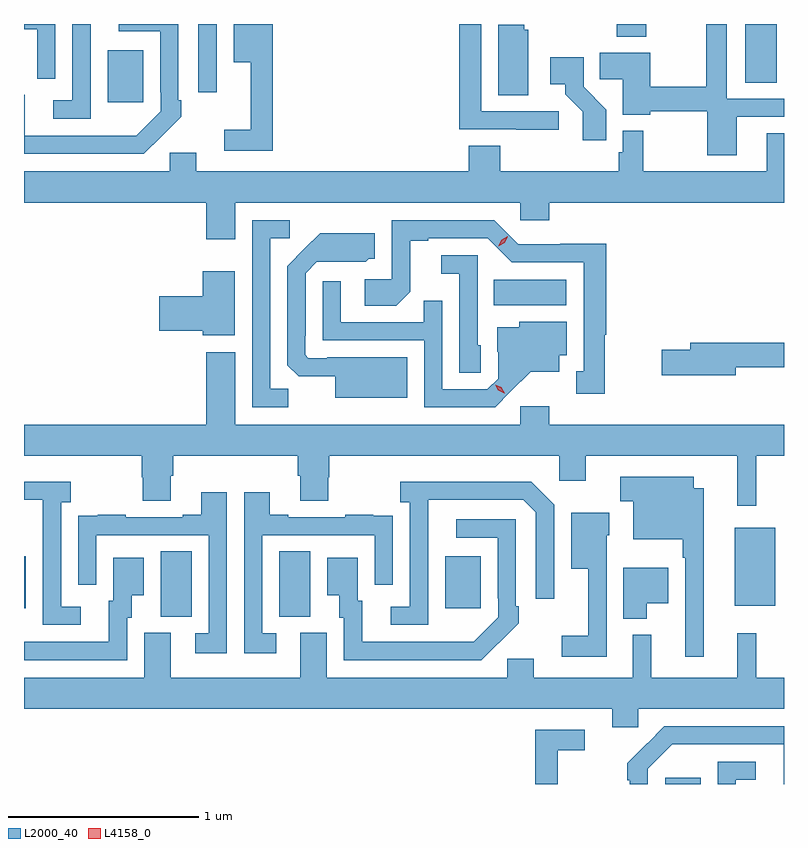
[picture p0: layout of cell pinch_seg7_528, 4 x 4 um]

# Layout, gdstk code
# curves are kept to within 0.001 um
import gdstk
lib = gdstk.Library(unit=1e-6, precision=1e-09)
def R(c, l, rs):  # rectangles x0, y0, x1, y1
    for r in rs: c.add(gdstk.rectangle(r[:2], r[2:], *l))
def P(c, l, *ps):  # polygons
    for p in ps: c.add(gdstk.Polygon(p, *l))
L2000_40 = (2000, 40)
L4158_0 = (4158, 0)

pinch_seg7_528 = lib.new_cell('pinch_seg7_528')
R(pinch_seg7_528, L2000_40, [(151.367,1069.484,151.555,1069.516), (148.712,1070.365,148.876,1070.708), (149.336,1070.365,149.5,1070.708), (147.993,1070.409,148.003,1070.683), (150.209,1070.409,150.397,1070.683), (151.733,1070.423,151.948,1070.833), (150.466,1072.004,150.847,1072.138), (148.433,1073.073,148.621,1073.347), (148.911,1073.124,149.007,1073.484), (151.79,1073.176,151.954,1073.484), (151.114,1073.417,151.269,1073.484)])
P(pinch_seg7_528, L2000_40, [(148.344,1073.443),(148.345,1073.443),(148.345,1073.484),(148.248,1073.484),(148.248,1073.082),(148.146,1073.082),(148.146,1072.986),(148.344,1072.986)],
  [(151.744,1072.995),(151.993,1072.995),(151.993,1073.091),(151.692,1073.091),(151.692,1073.484),(151.584,1073.484),(151.584,1073.153),(151.29,1073.153),(151.29,1073.332),(151.024,1073.332),(151.024,1073.194),(151.145,1073.194),(151.145,1073.006),(151.29,1073.006),(151.29,1073.025),(151.588,1073.025),(151.588,1072.794),(151.744,1072.794)],
  [(150.808,1073.025),(150.399,1073.025),(150.399,1073.484),(150.283,1073.484),(150.283,1072.929),(150.583,1072.929),(150.583,1072.927),(150.808,1072.927)],
  [(148.158,1073.45),(148.157,1073.45),(148.157,1073.484),(147.993,1073.484),(147.993,1073.457),(148.062,1073.457),(148.062,1073.196),(148.158,1073.196)],
  [(149.303,1073.484),(149.096,1073.484),(149.096,1073.282),(149.186,1073.282),(149.186,1072.927),(149.046,1072.927),(149.046,1072.818),(149.303,1072.818)],
  [(148.715,1072.891),(148.716,1072.89),(148.821,1072.995),(148.821,1073.083),(148.806,1073.083),(148.806,1073.484),(148.491,1073.484),(148.491,1073.445),(148.71,1073.445),(148.71,1073.125),(148.713,1073.125),(148.713,1073.025),(148.585,1072.897),(147.997,1072.896),(147.997,1073.112),(147.993,1073.112),(147.993,1072.8),(148.624,1072.8)],
  [(150.646,1073.454),(150.627,1073.454),(150.627,1073.481),(150.488,1073.481),(150.488,1073.11),(150.646,1073.11)],
  [(151.058,1073.034),(150.939,1073.153),(150.939,1073.308),(150.762,1073.308),(150.762,1073.168),(150.842,1073.168),(150.842,1073.113),(150.933,1073.023),(150.933,1072.872),(151.058,1072.872)],
  [(149.104,1072.544),(150.606,1072.544),(150.606,1072.451),(150.758,1072.451),(150.758,1072.544),(151.993,1072.544),(151.993,1072.91),(151.901,1072.91),(151.901,1072.708),(151.252,1072.708),(151.252,1072.921),(151.143,1072.921),(151.143,1072.809),(151.123,1072.809),(151.123,1072.708),(150.5,1072.708),(150.5,1072.844),(150.335,1072.844),(150.335,1072.708),(148.9,1072.708),(148.9,1072.806),(148.761,1072.806),(148.761,1072.708),(147.993,1072.708),(147.993,1072.544),(148.952,1072.544),(148.952,1072.35),(149.104,1072.35)],
  [(151.049,1071.849),(151.057,1071.849),(151.057,1072.328),(150.816,1072.328),(150.816,1072.326),(150.594,1072.326),(150.468,1072.452),(149.928,1072.452),(149.928,1072.14),(149.787,1072.14),(149.787,1072),(149.951,1072),(150.027,1072.076),(150.027,1072.344),(150.121,1072.344),(150.121,1072.356),(150.435,1072.356),(150.561,1072.23),(150.938,1072.23),(150.938,1071.657),(150.899,1071.657),(150.899,1071.537),(151.049,1071.537)],
  [(149.385,1071.563),(149.289,1071.563),(149.289,1072.356),(149.392,1072.356),(149.392,1072.452),(149.193,1072.452),(149.193,1071.468),(149.385,1071.468)],
  [(150.01,1071.73),(149.59,1071.73),(149.59,1071.726),(149.49,1071.726),(149.472,1071.744),(149.472,1071.844),(149.475,1071.844),(149.475,1072.173),(149.535,1072.233),(149.792,1072.232),(149.808,1072.248),(149.839,1072.248),(149.839,1072.384),(149.551,1072.384),(149.379,1072.21),(149.379,1071.688),(149.438,1071.629),(149.63,1071.629),(149.63,1071.518),(150.01,1071.518)],
  [(150.396,1071.792),(150.381,1071.792),(150.381,1072.266),(150.189,1072.266),(150.189,1072.169),(150.285,1072.169),(150.285,1071.649),(150.396,1071.649)],
  [(149.101,1072.183),(148.934,1072.183),(148.934,1072.052),(148.704,1072.052),(148.704,1071.869),(148.934,1071.869),(148.934,1071.845),(149.101,1071.845)],
  [(150.556,1071.551),(150.659,1071.653),(150.811,1071.653),(150.811,1071.74),(150.85,1071.74),(150.85,1071.916),(150.6,1071.916),(150.6,1071.889),(150.485,1071.889),(150.485,1071.76),(150.489,1071.76),(150.489,1071.618),(150.432,1071.561),(150.195,1071.561),(150.195,1072.028),(150.097,1072.028),(150.097,1071.915),(149.661,1071.915),(149.661,1072.129),(149.565,1072.129),(149.565,1071.819),(150.099,1071.819),(150.099,1071.468),(150.472,1071.468)],
  [(151.738,1071.678),(151.993,1071.678),(151.993,1071.806),(151.499,1071.806),(151.499,1071.77),(151.35,1071.77),(151.35,1071.635),(151.738,1071.635)],
  [(151.848,1071.212),(151.993,1071.212),(151.993,1071.376),(150.758,1071.376),(150.758,1071.472),(150.606,1071.472),(150.606,1071.376),(149.104,1071.376),(149.104,1071.757),(148.952,1071.757),(148.952,1071.376),(147.993,1071.376),(147.993,1071.212),(148.613,1071.212),(148.613,1071.099),(148.618,1071.099),(148.618,1070.974),(148.765,1070.974),(148.765,1071.106),(148.778,1071.106),(148.778,1071.212),(149.435,1071.212),(149.435,1071.106),(149.447,1071.106),(149.447,1070.974),(149.595,1070.974),(149.595,1071.099),(149.6,1071.099),(149.6,1071.212),(150.81,1071.212),(150.81,1071.081),(150.949,1071.081),(150.949,1071.212),(151.747,1071.212),(151.747,1070.949),(151.848,1070.949)],
  [(151.57,1071.04),(151.519,1071.04),(151.519,1071.1),(151.131,1071.1),(151.131,1070.971),(151.199,1070.971),(151.199,1070.771),(151.461,1070.771),(151.461,1070.675),(151.473,1070.675),(151.473,1070.154),(151.57,1070.154)],
  [(148.291,1070.418),(148.188,1070.418),(148.188,1070.966),(148.24,1070.966),(148.24,1071.076),(147.993,1071.076),(147.993,1070.979),(148.091,1070.979),(148.091,1070.779),(148.092,1070.779),(148.092,1070.322),(148.291,1070.322)],
  [(150.12,1070.779),(150.121,1070.979),(150.621,1070.979),(150.687,1070.913),(150.687,1070.46),(150.783,1070.46),(150.783,1070.955),(150.662,1071.076),(149.973,1071.076),(149.973,1070.966),(150.024,1070.966),(150.024,1070.418),(149.922,1070.418),(149.922,1070.322),(150.12,1070.322)],
  [(149.32,1070.277),(149.247,1070.277),(149.247,1070.793),(149.838,1070.793),(149.838,1070.532),(149.934,1070.532),(149.934,1070.786),(149.933,1070.786),(149.933,1070.895),(149.831,1070.895),(149.831,1070.902),(149.683,1070.902),(149.683,1070.889),(149.383,1070.889),(149.383,1070.902),(149.287,1070.902),(149.287,1071.019),(149.151,1071.019),(149.151,1070.172),(149.32,1070.172)],
  [(149.061,1071.019),(148.925,1071.019),(148.925,1070.902),(148.829,1070.902),(148.829,1070.889),(148.529,1070.889),(148.529,1070.902),(148.381,1070.902),(148.381,1070.895),(148.279,1070.895),(148.279,1070.786),(148.278,1070.786),(148.278,1070.532),(148.374,1070.532),(148.374,1070.793),(148.965,1070.793),(148.965,1070.277),(148.893,1070.277),(148.893,1070.172),(149.061,1070.172)],
  [(151.059,1070.793),(151.072,1070.793),(151.072,1070.911),(150.872,1070.911),(150.872,1070.618),(150.962,1070.618),(150.962,1070.263),(150.822,1070.263),(150.822,1070.154),(151.059,1070.154)],
  [(150.491,1070.227),(150.492,1070.226),(150.597,1070.331),(150.597,1070.419),(150.582,1070.419),(150.582,1070.877),(150.267,1070.877),(150.267,1070.781),(150.486,1070.781),(150.486,1070.461),(150.489,1070.461),(150.489,1070.361),(150.361,1070.233),(149.773,1070.232),(149.773,1070.448),(149.749,1070.448),(149.749,1070.674),(149.588,1070.674),(149.588,1070.477),(149.651,1070.477),(149.651,1070.358),(149.676,1070.358),(149.676,1070.136),(150.4,1070.136)],
  [(148.536,1070.358),(148.561,1070.358),(148.561,1070.477),(148.624,1070.477),(148.624,1070.674),(148.463,1070.674),(148.463,1070.448),(148.439,1070.448),(148.439,1070.232),(147.993,1070.232),(147.993,1070.136),(148.536,1070.136)],
  [(151.27,1070.435),(151.384,1070.435),(151.384,1070.623),(151.148,1070.623),(151.148,1070.354),(151.27,1070.354)],
  [(151.227,1069.88),(151.993,1069.88),(151.993,1070.044),(151.848,1070.044),(151.848,1070.278),(151.748,1070.278),(151.748,1070.044),(151.295,1070.044),(151.295,1070.269),(151.196,1070.269),(151.196,1070.044),(150.676,1070.044),(150.676,1070.142),(150.537,1070.142),(150.537,1070.044),(149.587,1070.044),(149.587,1070.28),(149.447,1070.28),(149.447,1070.044),(148.765,1070.044),(148.765,1070.28),(148.625,1070.28),(148.625,1070.044),(147.993,1070.044),(147.993,1069.88),(151.088,1069.88),(151.088,1069.782),(151.227,1069.782)],
  [(151.275,1069.563),(151.404,1069.692),(151.991,1069.692),(151.991,1069.484),(151.993,1069.484),(151.993,1069.788),(151.364,1069.788),(151.167,1069.593),(151.167,1069.505),(151.182,1069.505),(151.182,1069.484),(151.275,1069.484)],
  [(150.803,1069.662),(150.943,1069.662),(150.943,1069.77),(150.685,1069.77),(150.685,1069.484),(150.803,1069.484)],
  [(151.74,1069.506),(151.843,1069.506),(151.843,1069.602),(151.644,1069.602),(151.644,1069.484),(151.74,1069.484)])
P(pinch_seg7_528, L4158_0, [(150.49,1072.315),(150.49,1072.315),(150.507,1072.348),(150.539,1072.366),(150.539,1072.366),(150.539,1072.366),(150.522,1072.333),(150.49,1072.315)],
  [(150.521,1071.541),(150.49,1071.556),(150.472,1071.585),(150.472,1071.586),(150.473,1071.586),(150.504,1071.571),(150.522,1071.541),(150.522,1071.541)])

lib.write_gds('pinch_seg7_528.gds')
